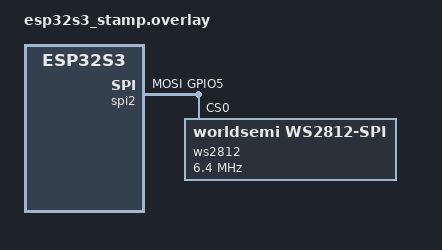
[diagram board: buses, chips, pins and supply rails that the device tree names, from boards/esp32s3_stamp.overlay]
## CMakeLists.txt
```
# SPDX-License-Identifier: Apache-2.0

cmake_minimum_required(VERSION 3.20.0)

# Find Zephyr. This also loads Zephyr's build system.
find_package(Zephyr REQUIRED HINTS $ENV{ZEPHYR_BASE})

project(ws2812_led_demo)

# Add your source files
target_sources(app PRIVATE src/main.c)
```

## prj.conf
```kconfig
# Kernel Configuration
CONFIG_MAIN_STACK_SIZE=2048
CONFIG_SYSTEM_WORKQUEUE_STACK_SIZE=2048

# Enable LED strip support
CONFIG_LED=y
CONFIG_LED_STRIP=y

# Enable SPI for WS2812
CONFIG_SPI=y

# GPIO support
CONFIG_GPIO=y

# Logging support (optional, for debugging)
CONFIG_LOG=y
CONFIG_LOG_DEFAULT_LEVEL=3

# Console and serial (optional, for debug output)
CONFIG_CONSOLE=y
CONFIG_SERIAL=y
CONFIG_UART_CONSOLE=y
```

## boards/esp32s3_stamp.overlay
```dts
// boards/esp32s3_stamp.overlay

/ {
	aliases {
		led-strip = &ws2812;
	};
};

&spi2 {
	status = "okay";
	pinctrl-0 = <&spim2_default>;
	pinctrl-names = "default";
	
	ws2812: ws2812@0 {
		compatible = "worldsemi,ws2812-spi";
		reg = <0>;
		spi-max-frequency = <6400000>;
        spi-one-frame = <0xf0>;
		spi-zero-frame = <0xc0>;
        reset-delay = <0x32>;     // Default 
        spi-lsb-first = <0>;

        //spi-max-frequency = <4000000>;
        //spi-one-frame = <0x40>;
		//sspi-zero-frame = <0x70>;

		chain-length = <140>;
		
		//color-mapping = <1 0 2>;  /* GRB */
        color-mapping = <2 1 3>;  /* GRB */
	};
};

&pinctrl {
	spim2_default: spim2_default {
		group1 {
			pinmux = <SPIM2_MOSI_GPIO5>;
		};
	};
};
```

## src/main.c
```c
#include <zephyr/kernel.h>
#include <zephyr/device.h>
#include <zephyr/drivers/led_strip.h>
#include <zephyr/sys/util.h>
#include <zephyr/logging/log.h>

LOG_MODULE_REGISTER(ws2812_demo, LOG_LEVEL_INF);

#define STRIP_NODE DT_ALIAS(led_strip)
#define STRIP_NUM_PIXELS DT_PROP(DT_ALIAS(led_strip), chain_length)

#define DELAY_TIME K_MSEC(50)

static const struct device *strip = DEVICE_DT_GET(STRIP_NODE);

/* Array to hold pixel colors */
static struct led_rgb pixels[STRIP_NUM_PIXELS];

/* Update the LED strip with current pixel values */
static int update_strip(void)
{
	return led_strip_update_rgb(strip, pixels, STRIP_NUM_PIXELS);
}

/* Set all LEDs to a specific color */
static void set_all_leds(uint8_t r, uint8_t g, uint8_t b)
{
	for (int i = 0; i < STRIP_NUM_PIXELS; i++) {
		pixels[i].r = r;
		pixels[i].g = g;
		pixels[i].b = b;
	}
}

/* Rainbow effect */
static void rainbow_effect(void)
{
	static uint8_t hue = 0;
	
	for (int i = 0; i < STRIP_NUM_PIXELS; i++) {
		uint8_t pixel_hue = (hue + (i * 256 / STRIP_NUM_PIXELS)) % 256;
		
		/* Simple HSV to RGB conversion (S=255, V=128) */
		uint8_t sector = pixel_hue / 43;
		uint8_t offset = pixel_hue % 43;
		uint8_t brightness = 128;
		
		switch (sector) {
		case 0:
			pixels[i].r = brightness;
			pixels[i].g = (offset * brightness) / 43;
			pixels[i].b = 0;
			break;
		case 1:
			pixels[i].r = brightness - ((offset * brightness) / 43);
			pixels[i].g = brightness;
			pixels[i].b = 0;
			break;
		case 2:
			pixels[i].r = 0;
			pixels[i].g = brightness;
			pixels[i].b = (offset * brightness) / 43;
			break;
		case 3:
			pixels[i].r = 0;
			pixels[i].g = brightness - ((offset * brightness) / 43);
			pixels[i].b = brightness;
			break;
		case 4:
			pixels[i].r = (offset * brightness) / 43;
			pixels[i].g = 0;
			pixels[i].b = brightness;
			break;
		case 5:
			pixels[i].r = brightness;
			pixels[i].g = 0;
			pixels[i].b = brightness - ((offset * brightness) / 43);
			break;
		}
	}
	
	hue += 2;
}

/* Chase effect */
static void chase_effect(uint8_t r, uint8_t g, uint8_t b)
{
	static int pos = 0;
	
	set_all_leds(0, 0, 0);
	pixels[pos].r = r;
	pixels[pos].g = g;
	pixels[pos].b = b;
	
	pos = (pos + 1) % STRIP_NUM_PIXELS;
}

int main(void)
{
	int rc;
	int effect = 0;
	int counter = 0;

	printk("WS2812 LED Strip Demo on ESP32-S3\n");

	if (!device_is_ready(strip)) {
		printk("LED strip device is not ready\n");
		return -ENODEV;
	}

	printk("Found LED strip device\n");
	printk("Number of LEDs: %d\n", STRIP_NUM_PIXELS);

	/* Clear all LEDs initially */
	set_all_leds(0, 0, 0);
	update_strip();

	while (1) {
		switch (effect) {
		case 0:
			/* Solid red */
			set_all_leds(255, 0, 0);
            update_strip();
			break;
		case 1:
			/* Solid green */
			set_all_leds(0, 255, 0);
            update_strip();
			break;
		case 2:
			/* Solid blue */
			set_all_leds(0, 0, 255);
            update_strip();
			break;
		case 3:
			/* Rainbow effect */
			rainbow_effect();
			break;
		case 4:
			/* Chase effect */
			chase_effect(255, 255, 255);
			break;
		}

		rc = update_strip();
		if (rc) {
			printk("Failed to update LED strip: %d\n", rc);
		}

		k_sleep(DELAY_TIME);
		
		/* Change effect every 5 seconds (100 x 50ms) */
		counter++;
		if (counter >= 100) {
			counter = 0;
			effect = (effect + 1) % 5;
			printk("Switching to effect %d\n", effect);
		}
	}

	return 0;
}
```
